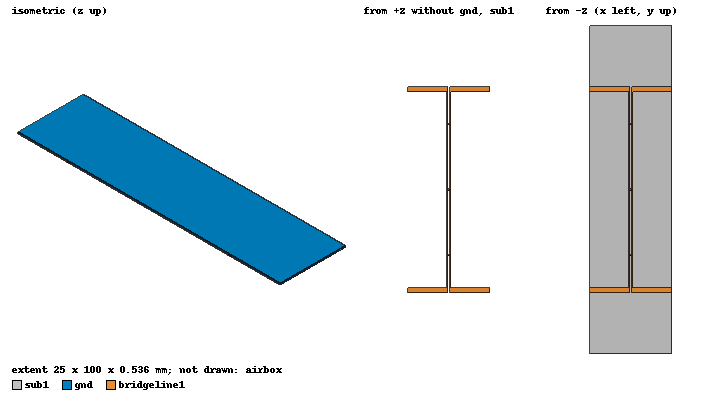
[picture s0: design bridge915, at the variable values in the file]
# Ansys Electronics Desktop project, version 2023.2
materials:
  Rogers RT/duroid 5880 (tm): permittivity=2.2 dielectric_loss_tangent=0.0009
  copper: permeability=0.999991 conductivity=58000000
  vacuum: permittivity=1

design bridge915 (HFSS, HFSS Modal Network, model units mm)
options: Allow_Material_Override Save_Adaptive_support_files
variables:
  patchw = 11mm
  patch_gap = 0.3mm
  subw = patchw*3+patch_gap*4+20mm
  subh = 0.5mm
  copper = 0.018mm
  shortr = 1mm
  airh = 3mm
  gndw = 100mm
  gndew = 14mm
  feed_slotl = 22mm
  feed_slotw = 1mm
  feedlinew = 1.5mm
  feedlinel = subw/2+feedline_end+gndew/2
  feed_length = 21mm
  quarter = 35mm
  feedline_end = 5mm
  bridgex = -bridges/2-bridgew
  bridgew = 0.37mm
  bridgele = 10mm
  bridges = 0.5mm
  capw = 0.5mm
  bridgelinel1 = gndl/2-bridges/2
  bridgelinew = 1.5mm
  c1 = 4.3pF
  gndl = 25mm
  padw = 0.1mm
  bridgeline1 = 0
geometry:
  sub1 [Rogers RT/duroid 5880 (tm)] = box(corner=(-gndl/2, -gndw/2, -subh-airh-copper), size=(gndl, gndw, -subh))
  gnd [copper] = box(corner=(-gndl/2, -gndw/2, -subh-airh), size=(gndl, gndw, -copper))
  airbox [vacuum] = box(corner=(-subw/2-quarter, -subw/2-quarter, -airh-quarter), size=(subw+quarter*2, subw+quarter*2, subh*2+airh+quarter*2))
  bridge2l = box(corner=(bridgex, 0, -subh*2-airh-copper), size=(bridgew, bridgele*2, -copper))
  bridge2ll = box(corner=(bridgex+bridgew+bridges, 0, -subh*2-airh-copper), size=(bridgew, bridgele*2, -copper))
  bridge2l1 = box(corner=(bridgex, 0, -subh*2-airh-copper), size=(bridgew, -bridgele*2, -copper))
  bridge2ll1 = box(corner=(bridgex+bridgew+bridges, 0, -subh*2-airh-copper), size=(bridgew, -bridgele*2, -copper))
  bridge1l = box(corner=(bridgex, bridgele*2, -subh*2-airh-copper), size=(bridgew, bridgele, -copper))
  bridge1ll = box(corner=(bridgex+bridgew+bridges, bridgele*2, -subh*2-airh-copper), size=(bridgew, bridgele, -copper))
  bridge1l1 = box(corner=(bridgex, -bridgele*2, -subh*2-airh-copper), size=(bridgew, -bridgele, -copper))
  bridge1ll1 = box(corner=(bridgex+bridgew+bridges, -bridgele*2, -subh*2-airh-copper), size=(bridgew, -bridgele, -copper))
  cap1 = rectangle(corner=(bridgex+bridgew, -bridgele*2-capw/2, -subh*2-airh-copper*2), x_size=bridges, y_size=capw)
  cap2 = rectangle(corner=(bridgex+bridgew, bridgele*2+capw/2, -subh*2-airh-copper*2), x_size=bridges, y_size=-capw)
  cap3 = rectangle(corner=(bridgex+bridgew, -capw/2, -subh*2-airh-copper*2), x_size=bridges, y_size=capw)
  bridgeline1 [copper] = box(corner=(bridgex+bridgew, -bridgele*3, -subh*2-airh-copper), size=(-bridgelinel1, -bridgelinew, -copper))
  bridgeline2 = box(corner=(bridgex+bridgew, bridgele*3, -subh*2-airh-copper), size=(-bridgelinel1, bridgelinew, -copper))
  bridgeline3 = box(corner=(bridgex+bridgew+bridges, -bridgele*3, -subh*2-airh-copper), size=(bridgelinel1, -bridgelinew, -copper))
  bridgeline4 = box(corner=(bridgex+bridgew+bridges, bridgele*3, -subh*2-airh-copper), size=(bridgelinel1, bridgelinew, -copper))
  port3 = rectangle(corner=(bridgex+bridgew+bridges+bridgelinel1, -bridgele*3, -subh*2-airh-copper), y_size=-bridgelinew, z_size=subh)
  port4 = rectangle(corner=(bridgex+bridgew+bridges+bridgelinel1, bridgele*3, -subh*2-airh-copper), y_size=bridgelinew, z_size=subh)
  port1 = rectangle(corner=(-bridgex-bridgew-bridges-bridgelinel1, -bridgele*3, -subh*2-airh-copper), y_size=-bridgelinew, z_size=subh)
  port2 = rectangle(corner=(-bridgex-bridgew-bridges-bridgelinel1, bridgele*3, -subh*2-airh-copper), y_size=bridgelinew, z_size=subh)
  bridgeline1.unite(bridgeline2, bridgeline3, bridgeline4)
  pad = rectangle(corner=(bridgex, -bridgele*2-capw/2, -subh*2-airh-copper*2), x_size=-padw, y_size=capw)
  pad1 = rectangle(corner=(-bridgex, -bridgele*2-capw/2, -subh*2-airh-copper*2), x_size=padw, y_size=capw)
  pad1.thicken(copper)
  pad.thicken(-copper)
  pad2 = rectangle(corner=(bridgex, bridgele*2+capw/2, -subh*2-airh-copper*2), x_size=-padw, y_size=-capw)
  pad2.thicken(copper)
  pad3 = rectangle(corner=(-bridgex, bridgele*2+capw/2, -subh*2-airh-copper*2), x_size=padw, y_size=-capw)
  pad3.thicken(-copper)
  pad4 = rectangle(corner=(bridgex, -capw/2, -subh*2-airh-copper*2), x_size=-padw, y_size=capw)
  pad4.thicken(-copper)
  pad5 = rectangle(corner=(-bridgex, -capw/2, -subh*2-airh-copper*2), x_size=padw, y_size=capw)
  pad5.thicken(copper)
  bridge1l1.unite(bridge2l1, bridge2l, bridge1l)
  bridge1ll.unite(bridge2ll, bridge2ll1, bridge1ll1)
  bridge1l1.unite(bridge1ll)
  pad.unite(pad1, pad4, pad5, pad2, pad3)
  bridge1l1.unite(pad)
  bridgeline1.unite(bridge1l1)
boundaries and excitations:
  Rad1: Radiation Objects=airbox
  LumpRLC1: Lumped RLC Objects=cap1 CurrentLine{(-0.25, -20, -4.036) -> (0.25, -20, -4.036)} RLC_Type=Parallel Capacitance=c1
  LumpRLC2: Lumped RLC Objects=cap3 CurrentLine{(-0.25, 0, -4.036) -> (0.25, 0, -4.036)} RLC_Type=Parallel Capacitance=c1
  LumpRLC3: Lumped RLC Objects=cap2 CurrentLine{(-0.25, 20, -4.036) -> (0.25, 20, -4.036)} RLC_Type=Parallel Capacitance=c1
  1: Lumped Port Objects=port1 LumpedPortType=Modal Modes{Mode1{IntLine{(-12.5, -30, -3.768) -> (-12.5, -31.5, -3.768)} CharImp=Zpi RenormImp=50ohm}} Impedance=50ohm
  2: Lumped Port Objects=port2 LumpedPortType=Modal Modes{Mode1{IntLine{(-12.5, 30, -3.768) -> (-12.5, 31.5, -3.768)} CharImp=Zpi RenormImp=50ohm}} Impedance=50ohm
  3: Lumped Port Objects=port3 LumpedPortType=Modal Modes{Mode1{IntLine{(12.5, -30, -3.768) -> (12.5, -31.5, -3.768)} CharImp=Zpi RenormImp=50ohm}} Impedance=50ohm
  4: Lumped Port Objects=port4 LumpedPortType=Modal Modes{Mode1{IntLine{(12.5, 30, -3.768) -> (12.5, 31.5, -3.768)} CharImp=Zpi RenormImp=50ohm}} Impedance=50ohm
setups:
  Setup1: HfssDriven Frequency=0.925GHz MaxDeltaS=0.02 MaximumPasses=20 MinimumPasses=1 MinimumConvergedPasses=1 PercentRefinement=30 BasisOrder=1 PortAccuracy=2 DrivenSolverType="Direct Solver"
    sweep Sweep: 0.7GHz to 1.1GHz step 0.005GHz; Type=Interpolating InterpTolerance=0.5 InterpMaxSolns=250 InterpUsePortImped=false PassivityErrorTolerance=0.0001
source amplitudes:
  1:1: 1W 0deg
  2:1, 3:1, 4:1: 0W 0deg
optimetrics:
  ParametricSetup1: Parametric disabled Sim._Setups=[Setup1]
    sweep c1: LIN 1.2pF 1.6pF 0.1pF
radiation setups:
  Infinite Sphere1: Infinite Sphere Theta=-180deg..180deg step 2deg Phi=0deg..360deg step 5deg
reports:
  S Parameter Plot 2: dB(S(1,1)), dB(S(2,1)), dB(S(3,1)), dB(S(4,1)) vs Freq on Setup1 : Sweep; markers m1 at 2.5GHz, MX1 at x=9.176611e+08, MY1 at y=-6.9378
